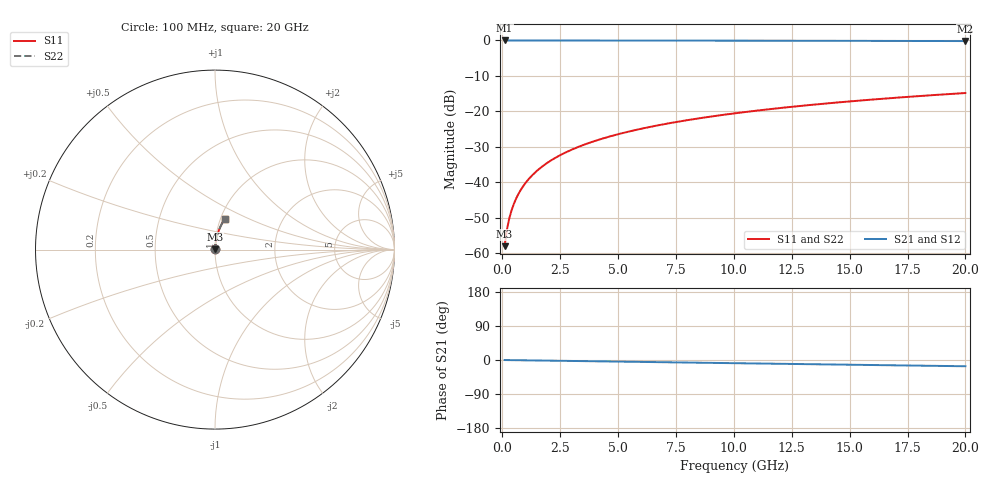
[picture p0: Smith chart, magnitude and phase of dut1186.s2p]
! Touchstone file exported from HFSS 2026.1.0
!  File:  C:/ffzhzh/LocalFiles/Ansys_Project_Files/temp_train_TMRDL_1186_1783162737_18472.aedt
!  Generated:  07:00:09 PM Jul  4, 2026
!  Design:  TMRDL
!  Project:  temp_train_TMRDL_1186_1783162737_18472
! Variables:
!  h_bsmrdl = 2um
!  h_ox = 20um
!  h_rdl = 5um
!  h_sub = 80um
!  h_tmrdl = 4.98um
!  h_tsv = 80um
!  h_via = 3um
!  l_bsmrdl = 300um
!  l_sub = 586.1um
!  l_tmrdl = 186.1um
!  m_sub = 200um
!  pitch = 58.4um
!  r_tsv = 6um
!  s_tmrdl = 10um
!  w_bsmrdl = 18um
!  w_sub = 500um
!  w_tmrdl = 22.83um
!  x_tsv_center1 = 197.515um
!  x_tsv_center2 = 515.515um
!  x_tsv_center3 = 724.445um
!  x_tsv_center4 = 1042.445um
!  x_tsv_center5 = 1251.375um
!  x_tsv_center6 = 1569.375um
# GHz S MA R 50.000000
! Terminal data exported
! Port[1] = TM_RDL1_1_T1
! Port[2] = TM_RDL1_1_T2
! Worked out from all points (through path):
!   200 points, 100 MHz to 20 GHz, reference 50 ohm
!   highest |S21| = -0.01 dB at 100 MHz (marker M1); lowest = -0.2 dB at 20 GHz (marker M2)
!   group delay of S21, straight-line fit = 2.29 ps
!   lowest |S11| = -58.0 dB at 100 MHz (marker M3), VSWR 1.00, Z = 50.1 + j0.103 ohm
!   |S11| at or under -10 dB: start of sweep to end of sweep
!   |S22| runs from -58.0 to -14.8 dB; largest |S21 - S12| = 7.2e-15
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0.1  0.001264 54.3  0.9993 -0.1  0.9993 -0.1  0.001264 54.3
! Gamma 0 0 0 0
! Port Impedance 50 0 50 0
0.2  0.002162 68.7  0.9992 -0.2  0.9992 -0.2  0.002162 68.7
0.3  0.003094 74.6  0.9992 -0.3  0.9992 -0.3  0.003094 74.6
0.4  0.004037 77.8  0.9992 -0.3  0.9992 -0.3  0.004037 77.8
0.5  0.004987 79.8  0.9991 -0.4  0.9991 -0.4  0.004987 79.8
0.7  0.006901 82.1  0.9991 -0.6  0.9991 -0.6  0.006901 82.1
0.8  0.007862 82.8  0.9991 -0.7  0.9991 -0.7  0.007862 82.8
1  0.009788 83.8  0.999 -0.9  0.999 -0.9  0.009788 83.8
1.2  0.01171 84.3  0.999 -1.0  0.999 -1.0  0.01171 84.3
1.4  0.01364 84.7  0.9989 -1.2  0.9989 -1.2  0.01364 84.7
1.7  0.01653 84.9  0.9988 -1.5  0.9988 -1.5  0.01653 84.9
2  0.01941 85.0  0.9987 -1.7  0.9987 -1.7  0.01941 85.0
2.7  0.02609 84.9  0.9984 -2.3  0.9984 -2.3  0.02609 84.9
3.5  0.03367 84.5  0.998 -3.0  0.998 -3.0  0.03367 84.5
4.2  0.04025 84.1  0.9975 -3.6  0.9975 -3.6  0.04025 84.1
5  0.04773 83.5  0.997 -4.2  0.997 -4.2  0.04773 83.5
6.8  0.06439 82.3  0.9957 -5.7  0.9957 -5.7  0.06439 82.3
8.3  0.07816 81.2  0.9944 -7.0  0.9944 -7.0  0.07816 81.2
10.1  0.09454 79.8  0.9927 -8.5  0.9927 -8.5  0.09454 79.8
13.4  0.1242 77.3  0.989 -11.2  0.989 -11.2  0.1242 77.3
16.7  0.1533 74.8  0.9846 -13.9  0.9846 -13.9  0.1533 74.8
20  0.1816 72.2  0.9795 -16.5  0.9795 -16.5  0.1816 72.2
